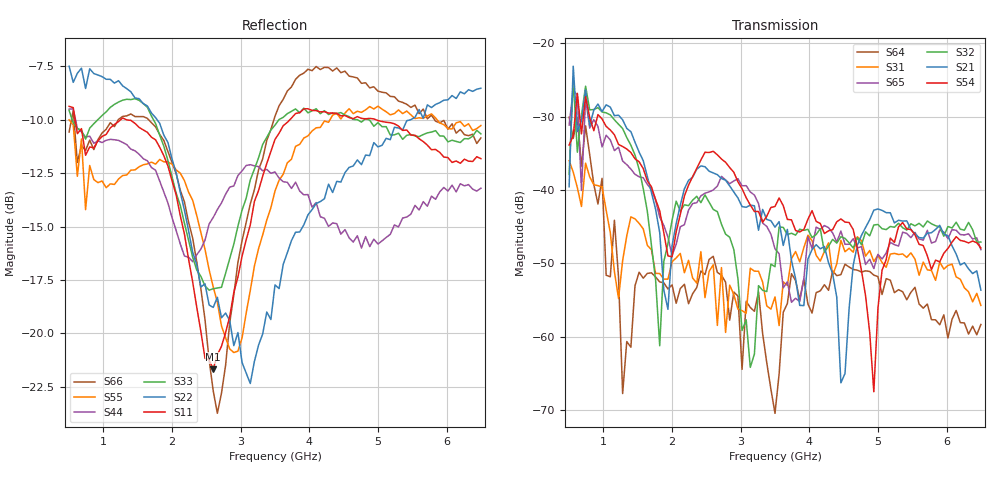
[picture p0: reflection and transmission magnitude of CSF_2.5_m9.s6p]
!Keysight Technologies,M9804A,MY58100912,A.14.10.03
!Date: Thursday, April 27, 2023 10:28:33
!Correction: S11(C  6-Port  )
!S12(C  6-Port  )
!S13(C  6-Port  )
!S14(C  6-Port  )
!S15(C  6-Port  )
!S16(C  6-Port  )
!S21(C  6-Port  )
!S22(C  6-Port  )
!S23(C  6-Port  )
!S24(C  6-Port  )
!S25(C  6-Port  )
!S26(C  6-Port  )
!S31(C  6-Port  )
!S32(C  6-Port  )
!S33(C  6-Port  )
!S34(C  6-Port  )
!S35(C  6-Port  )
!S36(C  6-Port  )
!S41(C  6-Port  )
!S42(C  6-Port  )
!S43(C  6-Port  )
!S44(C  6-Port  )
!S45(C  6-Port  )
!S46(C  6-Port  )
!S51(C  6-Port  )
!S52(C  6-Port  )
!S53(C  6-Port  )
!S54(C  6-Port  )
!S55(C  6-Port  )
!S56(C  6-Port  )
!S61(C  6-Port  )
!S62(C  6-Port  )
!S63(C  6-Port  )
!S64(C  6-Port  )
!S65(C  6-Port  )
!S66(C  6-Port  )
!S6P File: Measurement: :
# Hz S  RI  R 50
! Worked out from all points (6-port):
!   101 points, 500 MHz to 6.5 GHz, reference 50 ohm
!   strongest paths, dB at 500 MHz, 2 GHz, 3.5 GHz, 5 GHz, 6.5 GHz:
!     S54: -33.9, -49.1, -42.2, -56.1, -47.9
!     S21: -39.5, -47.6, -45.1, -42.6, -53.6
!     S32: -37.8, -44.1, -50.4, -44.7, -47.1
!     S65: -31.1, -48.9, -48.0, -48.8, -48.1
!     S31: -36.0, -49.8, -54.6, -48.9, -55.7
!     S64: -30.1, -52.9, -70.4, -51.8, -58.3
!   lowest |S11| = -21.7 dB at 2.6 GHz (marker M1), VSWR 1.18, Z = 42.6 + j1.99 ohm
!   |S11| at or under -10 dB: 588.1 MHz to 1.249 GHz (660.9 MHz wide, 71.9 % of centre); 1.337 GHz to 3.716 GHz (2.378 GHz wide, 94.1 % of centre); 4.973 GHz to end of sweep
